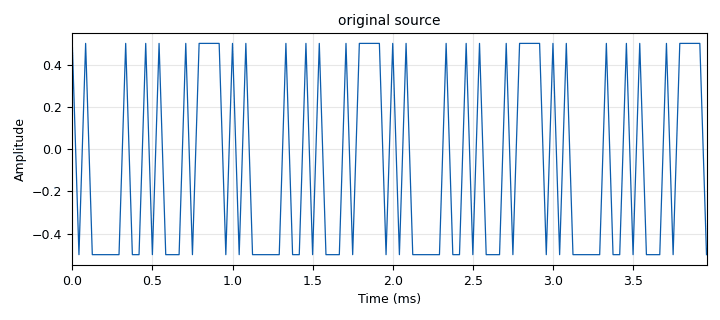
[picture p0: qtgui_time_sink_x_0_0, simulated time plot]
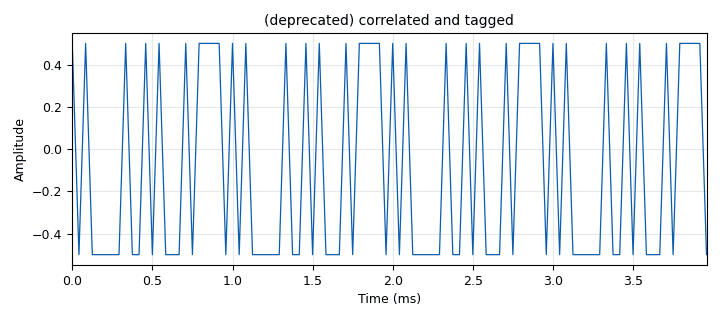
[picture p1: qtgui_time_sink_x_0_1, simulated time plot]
options:
  parameters:
    author: jonathan
    generate_options: qt_gui
    id: correlate_access_code
    output_language: python
    title: correlate access code
  states: {}

blocks:
- name: body
  id: variable
  parameters:
    value: '[randint(0,1) for x in range(18)]'
  states: {}
- name: cac_threshold
  id: variable_qtgui_range
  parameters:
    gui_hint: '[0,0,1,1]'
    label: CAC threshold
    min_len: '100'
    rangeType: int
    start: '0'
    step: '1'
    stop: len(preamble)
    value: '0'
  states: {}
- name: message
  id: variable
  parameters:
    value: preamble+body
  states: {}
- name: msgs_plotted
  id: variable
  parameters:
    value: '4'
  states: {}
- name: num_bits
  id: variable
  parameters:
    value: len(message)
  states: {}
- name: preamble
  id: variable
  parameters:
    value: '[0,1,0,1,1,1]'
  states: {}
- name: preamble_str
  id: variable
  parameters:
    value: '"010111"'
  states: {}
- name: samp_rate
  id: variable
  parameters:
    value: num_bits*1000
  states: {}
- name: blocks_add_const_vxx_0
  id: blocks_add_const_vxx
  parameters:
    const: '-0.5'
    type: float
  states: {}
- name: blocks_char_to_float_0_2
  id: blocks_char_to_float
  parameters:
    scale: '1'
  states: {}
- name: blocks_throttle2_0
  id: blocks_throttle2
  parameters:
    comment: mult of num_bits
    samples_per_second: num_bits*1000
    type: byte
  states: {}
- name: blocks_vector_source_x_0
  id: blocks_vector_source_x
  parameters:
    repeat: 'True'
    type: byte
    vector: message
  states: {}
- name: digital_correlate_access_code_tag_xx_0
  id: digital_correlate_access_code_tag_xx
  parameters:
    access_code: preamble_str
    tagname: '"CAC"'
    threshold: cac_threshold
    type: float
  states: {}
- name: import_0
  id: import
  parameters:
    imports: from random import randint
  states: {}
- name: qtgui_time_sink_x_0_0
  id: qtgui_time_sink_x
  parameters:
    autoscale: 'True'
    grid: 'True'
    gui_hint: '[1,0,1,1]'
    name: original source
    size: num_bits*msgs_plotted
    srate: samp_rate
    type: float
  states: {}
- name: qtgui_time_sink_x_0_1
  id: qtgui_time_sink_x
  parameters:
    autoscale: 'True'
    grid: 'True'
    gui_hint: '[3,0,1,1]'
    name: (deprecated) correlated and tagged
    size: num_bits*msgs_plotted
    srate: samp_rate
    type: float
  states: {}

connections:
- [blocks_add_const_vxx_0, '0', digital_correlate_access_code_tag_xx_0, '0']
- [blocks_add_const_vxx_0, '0', qtgui_time_sink_x_0_0, '0']
- [blocks_char_to_float_0_2, '0', blocks_add_const_vxx_0, '0']
- [blocks_vector_source_x_0, '0', blocks_char_to_float_0_2, '0']
- [blocks_vector_source_x_0, '0', blocks_throttle2_0, '0']
- [digital_correlate_access_code_tag_xx_0, '0', qtgui_time_sink_x_0_1, '0']

metadata:
  file_format: 1
  grc_version: 3.10.10.0
